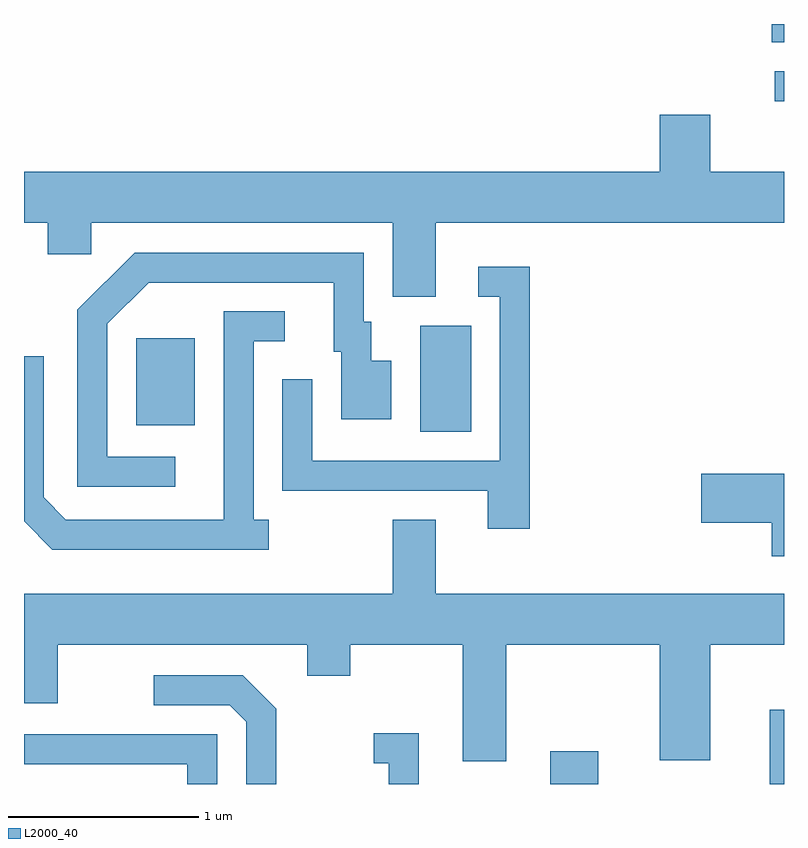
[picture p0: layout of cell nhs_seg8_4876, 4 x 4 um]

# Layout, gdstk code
import gdstk
lib = gdstk.Library(unit=1e-6, precision=1e-09)
def R(c, l, rs):  # rectangles x0, y0, x1, y1
    for r in rs: c.add(gdstk.rectangle(r[:2], r[2:], *l))
def P(c, l, *ps):  # polygons
    for p in ps: c.add(gdstk.Polygon(p, *l))
L2000_40 = (2000, 40)

nhs_seg8_4876 = lib.new_cell('nhs_seg8_4876')
R(nhs_seg8_4876, L2000_40, [(334.381,1842.342,334.634,1842.514), (335.536,1842.342,335.611,1842.734), (333.696,1844.196,333.964,1844.754), (332.201,1844.231,332.509,1844.689), (335.563,1845.936,335.611,1846.094), (335.546,1846.246,335.611,1846.342)])
P(nhs_seg8_4876, L2000_40, [(333.779,1845.296),(335.611,1845.296),(335.611,1845.564),(335.224,1845.564),(335.224,1845.864),(334.956,1845.864),(334.956,1845.564),(331.611,1845.564),(331.611,1845.296),(331.736,1845.296),(331.736,1845.131),(331.964,1845.131),(331.964,1845.296),(333.551,1845.296),(333.551,1844.906),(333.779,1844.906)],
  [(332.408,1844.064),(332.049,1844.064),(332.049,1844.764),(332.267,1844.981),(333.241,1844.981),(333.241,1844.616),(333.281,1844.616),(333.281,1844.261),(333.544,1844.261),(333.544,1844.569),(333.439,1844.569),(333.439,1844.774),(333.399,1844.774),(333.399,1845.139),(332.194,1845.139),(331.891,1844.837),(331.891,1843.906),(332.408,1843.906)],
  [(334.274,1845.064),(334.003,1845.064),(334.003,1844.906),(334.116,1844.906),(334.116,1844.044),(333.129,1844.044),(333.129,1844.473),(332.971,1844.473),(332.971,1843.886),(334.051,1843.886),(334.051,1843.686),(334.274,1843.686)],
  [(332.898,1843.734),(332.819,1843.734),(332.819,1844.671),(332.983,1844.671),(332.983,1844.829),(332.661,1844.829),(332.661,1843.734),(331.832,1843.734),(331.714,1843.852),(331.714,1844.593),(331.611,1844.593),(331.611,1843.724),(331.759,1843.576),(332.898,1843.576)],
  [(335.611,1843.974),(335.176,1843.974),(335.176,1843.716),(335.546,1843.716),(335.546,1843.541),(335.611,1843.541)],
  [(331.611,1842.766),(331.789,1842.766),(331.789,1843.076),(333.101,1843.076),(333.101,1842.911),(333.329,1842.911),(333.329,1843.076),(333.921,1843.076),(333.921,1842.461),(334.149,1842.461),(334.149,1843.076),(334.956,1843.076),(334.956,1842.466),(335.224,1842.466),(335.224,1843.076),(335.611,1843.076),(335.611,1843.344),(333.779,1843.344),(333.779,1843.734),(333.551,1843.734),(333.551,1843.344),(331.611,1843.344)],
  [(332.939,1842.737),(332.762,1842.914),(332.293,1842.914),(332.293,1842.756),(332.694,1842.756),(332.781,1842.669),(332.781,1842.342),(332.939,1842.342)],
  [(333.689,1842.609),(333.453,1842.609),(333.453,1842.451),(333.531,1842.451),(333.531,1842.342),(333.689,1842.342)],
  [(332.629,1842.604),(331.611,1842.604),(331.611,1842.446),(332.471,1842.446),(332.471,1842.342),(332.629,1842.342)])

lib.write_gds('nhs_seg8_4876.gds')
